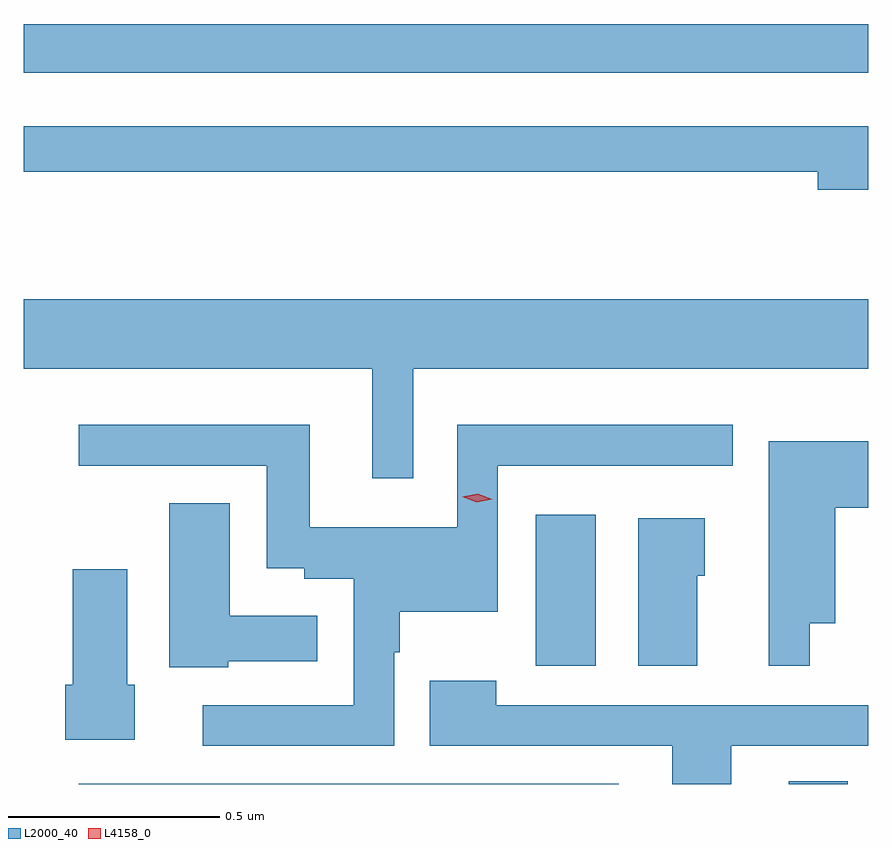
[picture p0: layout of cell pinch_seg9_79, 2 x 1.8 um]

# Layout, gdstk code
import gdstk
lib = gdstk.Library(unit=1e-6, precision=1e-09)
def R(c, l, rs):  # rectangles x0, y0, x1, y1
    for r in rs: c.add(gdstk.rectangle(r[:2], r[2:], *l))
def P(c, l, *ps):  # polygons
    for p in ps: c.add(gdstk.Polygon(p, *l))
L2000_40 = (2000, 40)
L4158_0 = (4158, 0)

pinch_seg9_79 = lib.new_cell('pinch_seg9_79')
R(pinch_seg9_79, L2000_40, [(1042.047,1192.772,1043.326,1192.773), (1043.729,1192.772,1043.869,1192.778), (1043.129,1193.052,1043.272,1193.41), (1041.917,1194.456,1043.917,1194.572)])
P(pinch_seg9_79, L2000_40, [(1043.917,1194.33),(1041.917,1194.33),(1041.917,1194.222),(1043.798,1194.222),(1043.798,1194.179),(1043.917,1194.179)],
  [(1042.839,1193.756),(1043.917,1193.756),(1043.917,1193.92),(1041.917,1193.92),(1041.917,1193.756),(1042.742,1193.756),(1042.742,1193.496),(1042.839,1193.496)],
  [(1042.794,1193.084),(1042.807,1193.084),(1042.807,1193.18),(1043.04,1193.18),(1043.04,1193.526),(1043.596,1193.526),(1043.596,1193.623),(1042.944,1193.623),(1042.944,1193.38),(1042.594,1193.38),(1042.594,1193.623),(1042.047,1193.623),(1042.047,1193.526),(1042.493,1193.526),(1042.493,1193.283),(1042.581,1193.283),(1042.581,1193.258),(1042.698,1193.258),(1042.698,1192.959),(1042.341,1192.959),(1042.341,1192.863),(1042.794,1192.863)],
  [(1043.779,1193.153),(1043.839,1193.153),(1043.839,1193.426),(1043.917,1193.426),(1043.917,1193.584),(1043.681,1193.584),(1043.681,1193.052),(1043.779,1193.052)],
  [(1042.401,1193.063),(1042.612,1193.063),(1042.612,1193.17),(1042.405,1193.17),(1042.405,1193.437),(1042.262,1193.437),(1042.262,1193.048),(1042.401,1193.048)],
  [(1043.512,1193.265),(1043.53,1193.265),(1043.53,1193.401),(1043.372,1193.401),(1043.372,1193.052),(1043.512,1193.052)],
  [(1042.18,1193.007),(1042.162,1193.007),(1042.162,1193.281),(1042.033,1193.281),(1042.033,1193.007),(1042.015,1193.007),(1042.015,1192.877),(1042.18,1192.877)],
  [(1043.593,1192.863),(1043.917,1192.863),(1043.917,1192.959),(1043.036,1192.959),(1043.036,1193.017),(1042.879,1193.017),(1042.879,1192.863),(1043.453,1192.863),(1043.453,1192.772),(1043.593,1192.772)])
P(pinch_seg9_79, L4158_0, [(1042.99,1193.439),(1042.955,1193.452),(1042.955,1193.452),(1042.955,1193.452),(1042.992,1193.459),(1043.027,1193.447),(1043.027,1193.446),(1043.027,1193.446)])

lib.write_gds('pinch_seg9_79.gds')
